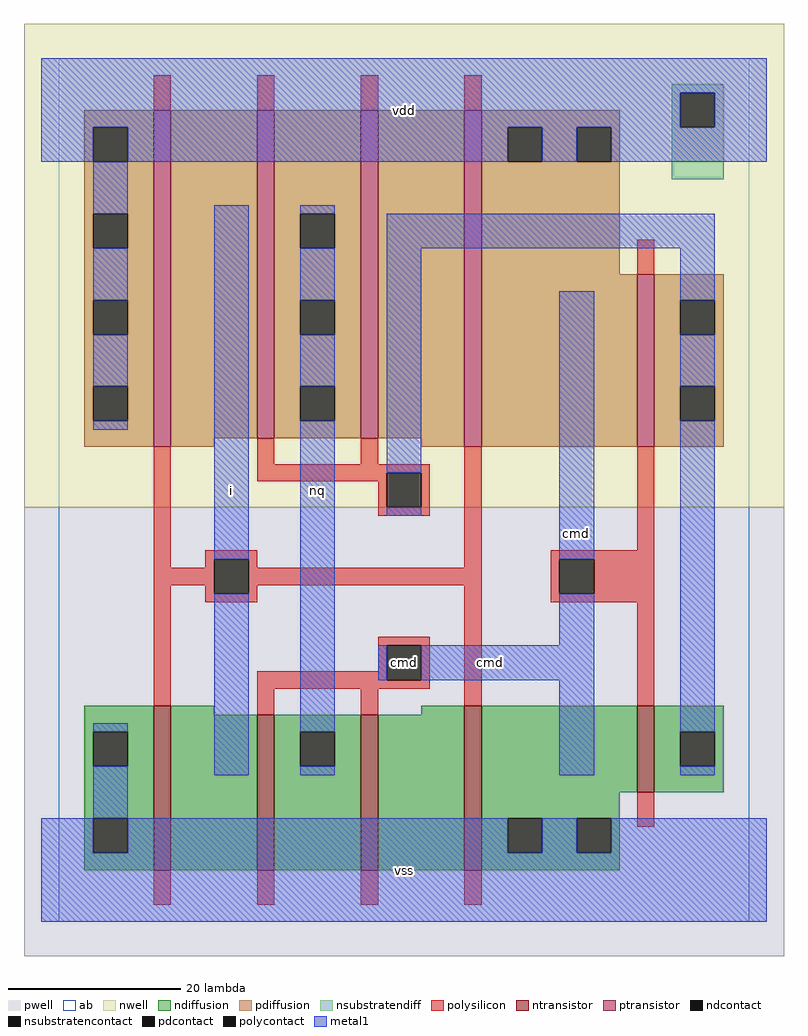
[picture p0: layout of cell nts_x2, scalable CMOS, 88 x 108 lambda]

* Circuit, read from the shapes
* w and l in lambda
.subckt nts_x2 cmd i nq vdd vss
M1 n1 i vss VSUBS nfet w=19 l=2
M2 nq cmd n1 VSUBS nfet w=18 l=2
M3 n2 cmd nq VSUBS nfet w=18 l=2
M4 vss i n2 VSUBS nfet w=19 l=2
M5 n3 cmd vss VSUBS nfet w=10 l=2
M6 n4 i vdd vdd pfet w=39 l=2
M7 nq n3 n4 vdd pfet w=38 l=2
M8 n5 n3 nq vdd pfet w=38 l=2
M9 vdd i n5 vdd pfet w=39 l=2
M10 n3 cmd vdd vdd pfet w=20 l=2
.ends

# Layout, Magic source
magic
tech scmos
<< ab >>
rect 0 0 80 100
<< pwell >>
rect -4 -4 84 48
<< nwell >>
rect -4 48 84 104
<< polysilicon >>
rect 11 94 13 98
rect 23 94 25 98
rect 35 94 37 98
rect 47 94 49 98
rect 11 41 13 55
rect 23 53 25 56
rect 35 53 37 56
rect 67 75 69 79
rect 23 52 43 53
rect 23 51 38 52
rect 37 48 38 51
rect 42 48 43 52
rect 37 47 43 48
rect 17 42 23 43
rect 17 41 18 42
rect 11 39 18 41
rect 11 25 13 39
rect 17 38 18 39
rect 22 41 23 42
rect 47 41 49 55
rect 67 43 69 55
rect 22 39 49 41
rect 22 38 23 39
rect 17 37 23 38
rect 37 32 43 33
rect 37 29 38 32
rect 23 28 38 29
rect 42 28 43 32
rect 23 27 43 28
rect 23 24 25 27
rect 35 24 37 27
rect 47 25 49 39
rect 57 42 69 43
rect 57 38 58 42
rect 62 38 69 42
rect 57 37 69 38
rect 67 25 69 37
rect 67 11 69 15
rect 11 2 13 6
rect 23 2 25 6
rect 35 2 37 6
rect 47 2 49 6
<< ndiffusion >>
rect 3 22 11 25
rect 3 18 4 22
rect 8 18 11 22
rect 3 12 11 18
rect 3 8 4 12
rect 8 8 11 12
rect 3 6 11 8
rect 13 24 18 25
rect 42 24 47 25
rect 13 6 23 24
rect 25 22 35 24
rect 25 18 28 22
rect 32 18 35 22
rect 25 6 35 18
rect 37 6 47 24
rect 49 15 67 25
rect 69 22 77 25
rect 69 18 72 22
rect 76 18 77 22
rect 69 15 77 18
rect 49 12 65 15
rect 49 8 52 12
rect 56 8 60 12
rect 64 8 65 12
rect 49 6 65 8
<< pdiffusion >>
rect 3 92 11 94
rect 3 88 4 92
rect 8 88 11 92
rect 3 82 11 88
rect 3 78 4 82
rect 8 78 11 82
rect 3 72 11 78
rect 3 68 4 72
rect 8 68 11 72
rect 3 62 11 68
rect 3 58 4 62
rect 8 58 11 62
rect 3 55 11 58
rect 13 56 23 94
rect 25 82 35 94
rect 25 78 28 82
rect 32 78 35 82
rect 25 72 35 78
rect 25 68 28 72
rect 32 68 35 72
rect 25 62 35 68
rect 25 58 28 62
rect 32 58 35 62
rect 25 56 35 58
rect 37 56 47 94
rect 13 55 18 56
rect 42 55 47 56
rect 49 92 65 94
rect 49 88 52 92
rect 56 88 60 92
rect 64 88 65 92
rect 49 75 65 88
rect 49 55 67 75
rect 69 72 77 75
rect 69 68 72 72
rect 76 68 77 72
rect 69 62 77 68
rect 69 58 72 62
rect 76 58 77 62
rect 69 55 77 58
<< metal1 >>
rect -2 96 82 100
rect -2 92 72 96
rect 76 92 82 96
rect -2 88 4 92
rect 8 88 52 92
rect 56 88 60 92
rect 64 88 82 92
rect 4 82 8 88
rect 4 72 8 78
rect 4 62 8 68
rect 4 57 8 58
rect 18 42 22 83
rect 4 22 8 23
rect 4 12 8 18
rect 18 17 22 38
rect 28 82 32 83
rect 28 72 32 78
rect 28 62 32 68
rect 28 22 32 58
rect 38 78 76 82
rect 38 52 42 78
rect 38 47 42 48
rect 58 42 62 73
rect 58 32 62 38
rect 37 28 38 32
rect 42 28 62 32
rect 28 17 32 18
rect 58 17 62 28
rect 72 72 76 78
rect 72 62 76 68
rect 72 22 76 58
rect 72 17 76 18
rect -2 8 4 12
rect 8 8 52 12
rect 56 8 60 12
rect 64 8 82 12
rect -2 0 82 8
<< ntransistor >>
rect 11 6 13 25
rect 23 6 25 24
rect 35 6 37 24
rect 47 6 49 25
rect 67 15 69 25
<< ptransistor >>
rect 11 55 13 94
rect 23 56 25 94
rect 35 56 37 94
rect 47 55 49 94
rect 67 55 69 75
<< polycontact >>
rect 38 48 42 52
rect 18 38 22 42
rect 38 28 42 32
rect 58 38 62 42
<< ndcontact >>
rect 4 18 8 22
rect 4 8 8 12
rect 28 18 32 22
rect 72 18 76 22
rect 52 8 56 12
rect 60 8 64 12
<< pdcontact >>
rect 4 88 8 92
rect 4 78 8 82
rect 4 68 8 72
rect 4 58 8 62
rect 28 78 32 82
rect 28 68 32 72
rect 28 58 32 62
rect 52 88 56 92
rect 60 88 64 92
rect 72 68 76 72
rect 72 58 76 62
<< nsubstratencontact >>
rect 72 92 76 96
<< nsubstratendiff >>
rect 71 96 77 97
rect 71 92 72 96
rect 76 92 77 96
rect 71 86 77 92
<< labels >>
rlabel metal1 30 50 30 50 6 nq
rlabel metal1 20 50 20 50 6 i
rlabel metal1 40 6 40 6 6 vss
rlabel polycontact 40 30 40 30 6 cmd
rlabel metal1 50 30 50 30 6 cmd
rlabel metal1 40 94 40 94 6 vdd
rlabel metal1 60 45 60 45 6 cmd
<< end >>
